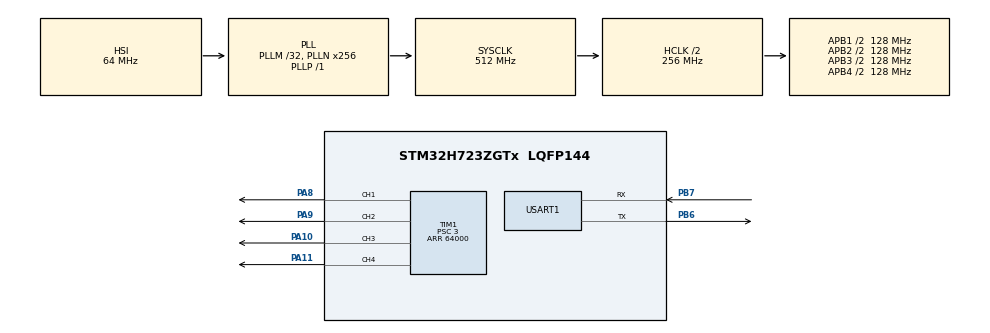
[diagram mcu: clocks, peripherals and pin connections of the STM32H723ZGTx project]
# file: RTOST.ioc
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CORTEX_M7.default_mode_Activation=1
FREERTOS.BinarySemaphores01=Freq_Sem,Dynamic,NULL,Depleted;Aimming_Sem,Dynamic,NULL,Depleted;Uart_Sem,Dynamic,NULL,Depleted
FREERTOS.Events01=Event1,Dynamic,NULL
FREERTOS.Mutexes01=UartMutexes,Dynamic,NULL,Available
FREERTOS.Queues01=UartQueue,128,uint8_t,0,Dynamic,NULL,NULL
FREERTOS.Tasks01=defaultTask,24,128,StartDefaultTask,Default,NULL,Dynamic,NULL,NULL
FREERTOS.Timers01=myTimer01,Callback01,osTimerPeriodic,Default,NULL,Dynamic,NULL
FREERTOS.configCHECK_FOR_STACK_OVERFLOW=2
Mcu.Family=STM32H7
Mcu.Name=STM32H723ZGTx
Mcu.Package=LQFP144
NVIC.PriorityGroup=NVIC_PRIORITYGROUP_4
NVIC.TIM8_UP_TIM13_IRQn=true\:15\:0\:false\:false\:true\:false\:false\:true\:true
NVIC.TimeBase=TIM8_UP_TIM13_IRQn
NVIC.TimeBaseIP=TIM8
NVIC.USART1_IRQn=true\:5\:0\:true\:false\:true\:true\:true\:true\:true
PA10.Signal=S_TIM1_CH3
PA11.Signal=S_TIM1_CH4
PA13(JTMS/SWDIO).Mode=Serial_Wire
PA13(JTMS/SWDIO).Signal=DEBUG_JTMS-SWDIO
PA14(JTCK/SWCLK).Mode=Serial_Wire
PA14(JTCK/SWCLK).Signal=DEBUG_JTCK-SWCLK
PA8.Signal=S_TIM1_CH1
PA9.Signal=S_TIM1_CH2
PB6.Mode=Asynchronous
PB6.Signal=USART1_TX
PB7.Mode=Asynchronous
PB7.Signal=USART1_RX
ProjectManager.HeapSize=0x200
ProjectManager.StackSize=0x400
ProjectManager.TargetToolchain=MDK-ARM V5.32
RCC.ADCFreq_Value=129000000
RCC.APB1Freq_Value=128000000
RCC.APB2Freq_Value=128000000
RCC.APB3Freq_Value=128000000
RCC.APB4Freq_Value=128000000
RCC.CortexFreq_Value=512000000
RCC.D1PPRE=RCC_APB3_DIV2
RCC.D2PPRE1=RCC_APB1_DIV2
RCC.D2PPRE2=RCC_APB2_DIV2
RCC.D3PPRE=RCC_APB4_DIV2
RCC.DIVN1=256
RCC.DIVP1=1
RCC.HCLKFreq_Value=256000000
RCC.HPRE=RCC_HCLK_DIV2
RCC.PLLFRACN=0
RCC.SYSCLKFreq_VALUE=512000000
RCC.SYSCLKSource=RCC_SYSCLKSOURCE_PLLCLK
RCC.USBFreq_Value=256000000
SH.S_TIM1_CH1.0=TIM1_CH1,PWM Generation1 CH1
SH.S_TIM1_CH2.0=TIM1_CH2,PWM Generation2 CH2
SH.S_TIM1_CH3.0=TIM1_CH3,PWM Generation3 CH3
SH.S_TIM1_CH4.0=TIM1_CH4,PWM Generation4 CH4
TIM1.AutoReloadPreload=TIM_AUTORELOAD_PRELOAD_ENABLE
TIM1.Channel-PWM\ Generation1\ CH1=TIM_CHANNEL_1
TIM1.Channel-PWM\ Generation2\ CH2=TIM_CHANNEL_2
TIM1.Channel-PWM\ Generation3\ CH3=TIM_CHANNEL_3
TIM1.Channel-PWM\ Generation4\ CH4=TIM_CHANNEL_4
TIM1.ClockDivision=TIM_CLOCKDIVISION_DIV1
TIM1.OCMode_PWM-PWM\ Generation1\ CH1=TIM_OCMODE_PWM1
TIM1.Period=64000
TIM1.Prescaler=3
TIM2.AutoReloadPreload=TIM_AUTORELOAD_PRELOAD_ENABLE
TIM2.Period=4294967295
TIM2.Prescaler=255
USART1.VirtualMode-Asynchronous=VM_ASYNC
VP_FREERTOS_VS_CMSIS_V2.Mode=CMSIS_V2
VP_MEMORYMAP_VS_MEMORYMAP.Mode=CurAppReg
VP_SYS_VS_tim8.Mode=TIM8
VP_TIM1_VS_ClockSourceINT.Mode=Internal
VP_TIM2_VS_ClockSourceINT.Mode=Internal
board=custom

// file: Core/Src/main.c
/* USER CODE BEGIN Header */
/**
  ******************************************************************************
  * @file           : main.c
  * @brief          : Main program body
  ******************************************************************************
  * @attention
  *
  * Copyright (c) 2025 STMicroelectronics.
  * All rights reserved.
  *
  * This software is licensed under terms that can be found in the LICENSE file
  * in the root directory of this software component.
  * If no LICENSE file comes with this software, it is provided AS-IS.
  *
  ******************************************************************************
  */
/* USER CODE END Header */
#include "main.h"
#include "cmsis_os.h"
#include "memorymap.h"
#include "tim.h"
#include "usart.h"
#include "gpio.h"

void SystemClock_Config(void);
static void MPU_Config(void);
void MX_FREERTOS_Init(void);

int main(void)
{

  /* MPU Configuration--------------------------------------------------------*/
  MPU_Config();

  /* MCU Configuration--------------------------------------------------------*/

  /* Reset of all peripherals, Initializes the Flash interface and the Systick. */
  HAL_Init();

  /* Configure the system clock */
  SystemClock_Config();

  /* Initialize all configured peripherals */
  MX_GPIO_Init();
  MX_TIM1_Init();
  MX_USART1_UART_Init();
  MX_TIM2_Init();

  /* Init scheduler */
  osKernelInitialize();

  /* Call init function for freertos objects (in cmsis_os2.c) */
  MX_FREERTOS_Init();

  /* Start scheduler */
  osKernelStart();

  /* We should never get here as control is now taken by the scheduler */

  /* Infinite loop */
  while (1)
  {

  }
}

void SystemClock_Config(void)
{
  RCC_OscInitTypeDef RCC_OscInitStruct = {0};
  RCC_ClkInitTypeDef RCC_ClkInitStruct = {0};

  /** Supply configuration update enable
  */
  HAL_PWREx_ConfigSupply(PWR_LDO_SUPPLY);

  /** Configure the main internal regulator output voltage
  */
  __HAL_PWR_VOLTAGESCALING_CONFIG(PWR_REGULATOR_VOLTAGE_SCALE0);

  while(!__HAL_PWR_GET_FLAG(PWR_FLAG_VOSRDY)) {}

  /** Initializes the RCC Oscillators according to the specified parameters
  * in the RCC_OscInitTypeDef structure.
  */
  RCC_OscInitStruct.OscillatorType = RCC_OSCILLATORTYPE_HSI;
  RCC_OscInitStruct.HSIState = RCC_HSI_DIV1;
  RCC_OscInitStruct.HSICalibrationValue = 64;
  RCC_OscInitStruct.PLL.PLLState = RCC_PLL_ON;
  RCC_OscInitStruct.PLL.PLLSource = RCC_PLLSOURCE_HSI;
  RCC_OscInitStruct.PLL.PLLM = 32;
  RCC_OscInitStruct.PLL.PLLN = 256;
  RCC_OscInitStruct.PLL.PLLP = 1;
  RCC_OscInitStruct.PLL.PLLQ = 2;
  RCC_OscInitStruct.PLL.PLLR = 2;
  RCC_OscInitStruct.PLL.PLLRGE = RCC_PLL1VCIRANGE_1;
  RCC_OscInitStruct.PLL.PLLVCOSEL = RCC_PLL1VCOWIDE;
  RCC_OscInitStruct.PLL.PLLFRACN = 0;
  if (HAL_RCC_OscConfig(&RCC_OscInitStruct) != HAL_OK)
  {
    Error_Handler();
  }

  /** Initializes the CPU, AHB and APB buses clocks
  */
  RCC_ClkInitStruct.ClockType = RCC_CLOCKTYPE_HCLK|RCC_CLOCKTYPE_SYSCLK
                              |RCC_CLOCKTYPE_PCLK1|RCC_CLOCKTYPE_PCLK2
                              |RCC_CLOCKTYPE_D3PCLK1|RCC_CLOCKTYPE_D1PCLK1;
  RCC_ClkInitStruct.SYSCLKSource = RCC_SYSCLKSOURCE_PLLCLK;
  RCC_ClkInitStruct.SYSCLKDivider = RCC_SYSCLK_DIV1;
  RCC_ClkInitStruct.AHBCLKDivider = RCC_HCLK_DIV2;
  RCC_ClkInitStruct.APB3CLKDivider = RCC_APB3_DIV2;
  RCC_ClkInitStruct.APB1CLKDivider = RCC_APB1_DIV2;
  RCC_ClkInitStruct.APB2CLKDivider = RCC_APB2_DIV2;
  RCC_ClkInitStruct.APB4CLKDivider = RCC_APB4_DIV2;

  if (HAL_RCC_ClockConfig(&RCC_ClkInitStruct, FLASH_LATENCY_3) != HAL_OK)
  {
    Error_Handler();
  }
}

 /* MPU Configuration */

void MPU_Config(void)
{
  MPU_Region_InitTypeDef MPU_InitStruct = {0};

  /* Disables the MPU */
  HAL_MPU_Disable();

  /** Initializes and configures the Region and the memory to be protected
  */
  MPU_InitStruct.Enable = MPU_REGION_ENABLE;
  MPU_InitStruct.Number = MPU_REGION_NUMBER0;
  MPU_InitStruct.BaseAddress = 0x0;
  MPU_InitStruct.Size = MPU_REGION_SIZE_4GB;
  MPU_InitStruct.SubRegionDisable = 0x87;
  MPU_InitStruct.TypeExtField = MPU_TEX_LEVEL0;
  MPU_InitStruct.AccessPermission = MPU_REGION_NO_ACCESS;
  MPU_InitStruct.DisableExec = MPU_INSTRUCTION_ACCESS_DISABLE;
  MPU_InitStruct.IsShareable = MPU_ACCESS_SHAREABLE;
  MPU_InitStruct.IsCacheable = MPU_ACCESS_NOT_CACHEABLE;
  MPU_InitStruct.IsBufferable = MPU_ACCESS_NOT_BUFFERABLE;

  HAL_MPU_ConfigRegion(&MPU_InitStruct);
  /* Enables the MPU */
  HAL_MPU_Enable(MPU_PRIVILEGED_DEFAULT);

}

void HAL_TIM_PeriodElapsedCallback(TIM_HandleTypeDef *htim)
{
  if (htim->Instance == TIM8)
  {
    HAL_IncTick();
  }
}

void Error_Handler(void)
{
  __disable_irq();
  while (1)
  {
  }
}

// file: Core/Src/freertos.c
/* USER CODE BEGIN Header */
/**
  ******************************************************************************
  * File Name          : freertos.c
  * Description        : Code for freertos applications
  ******************************************************************************
  * @attention
  *
  * Copyright (c) 2025 STMicroelectronics.
  * All rights reserved.
  *
  * This software is licensed under terms that can be found in the LICENSE file
  * in the root directory of this software component.
  * If no LICENSE file comes with this software, it is provided AS-IS.
  *
  ******************************************************************************
  */
/* USER CODE END Header */

#include "FreeRTOS.h"
#include "task.h"
#include "main.h"
#include "cmsis_os.h"

/* USER CODE BEGIN Includes */
#include "stdio.h"
#include "Freq.h"
#include "Aimming.h"
#include "Uart.h"
#include "Other.h"
#include "event_groups.h"
/* USER CODE END Includes */

/* USER CODE BEGIN PTD */
osThreadId_t FreqTaskHandle;
const osThreadAttr_t FreqTask_attributes = {
	.name = "FreqTask",
	.stack_size = 128 * 4,
	.priority = (osPriority_t) osPriorityNormal,
};

osThreadId_t AimmingTaskHandle;
const osThreadAttr_t AimmingTask_attributes = {
	.name = "AimmingTask",
	.stack_size = 256 * 4,
	.priority = (osPriority_t) osPriorityNormal,
};

osThreadId_t UartTaskHandle;
const osThreadAttr_t UartTask_attributes = {
	.name = "UartTask",
	.stack_size = 128 * 4,
	.priority = (osPriority_t) osPriorityNormal,
};

osThreadId_t OtherTaskHandle;
const osThreadAttr_t OtherTask_attributes = {
	.name = "OtherTask",
	.stack_size = 128 * 4,
	.priority = (osPriority_t) osPriorityNormal,
};
/* USER CODE END PTD */

/* Definitions for defaultTask */
osThreadId_t defaultTaskHandle;
const osThreadAttr_t defaultTask_attributes = {
  .name = "defaultTask",
  .stack_size = 128 * 4,
  .priority = (osPriority_t) osPriorityNormal,
};
/* Definitions for UartQueue */
osMessageQueueId_t UartQueueHandle;
const osMessageQueueAttr_t UartQueue_attributes = {
  .name = "UartQueue"
};
/* Definitions for myTimer01 */
osTimerId_t myTimer01Handle;
const osTimerAttr_t myTimer01_attributes = {
  .name = "myTimer01"
};
/* Definitions for UartMutexes */
osMutexId_t UartMutexesHandle;
const osMutexAttr_t UartMutexes_attributes = {
  .name = "UartMutexes"
};
/* Definitions for Freq_Sem */
osSemaphoreId_t Freq_SemHandle;
const osSemaphoreAttr_t Freq_Sem_attributes = {
  .name = "Freq_Sem"
};
/* Definitions for Aimming_Sem */
osSemaphoreId_t Aimming_SemHandle;
const osSemaphoreAttr_t Aimming_Sem_attributes = {
  .name = "Aimming_Sem"
};
/* Definitions for Uart_Sem */
osSemaphoreId_t Uart_SemHandle;
const osSemaphoreAttr_t Uart_Sem_attributes = {
  .name = "Uart_Sem"
};
/* Definitions for Event1 */
osEventFlagsId_t Event1Handle;
const osEventFlagsAttr_t Event1_attributes = {
  .name = "Event1"
};

void StartDefaultTask(void *argument);
void Callback01(void *argument);

void MX_FREERTOS_Init(void); /* (MISRA C 2004 rule 8.1) */

/* Hook prototypes */
void vApplicationStackOverflowHook(xTaskHandle xTask, signed char *pcTaskName);

/* USER CODE BEGIN 4 */
void vApplicationStackOverflowHook(xTaskHandle xTask, signed char *pcTaskName)
{
		printf("%s:overflow\r\n",pcTaskName);//���Ӻ�����ջ�������

   /* Run time stack overflow checking is performed if
   configCHECK_FOR_STACK_OVERFLOW is defined to 1 or 2. This hook function is
   called if a stack overflow is detected. */
}
/* USER CODE END 4 */

void MX_FREERTOS_Init(void) {
  /* Create the mutex(es) */
  /* creation of UartMutexes */
  UartMutexesHandle = osMutexNew(&UartMutexes_attributes);

  /* Create the semaphores(s) */
  /* creation of Freq_Sem */
  Freq_SemHandle = osSemaphoreNew(1, 0, &Freq_Sem_attributes);

  /* creation of Aimming_Sem */
  Aimming_SemHandle = osSemaphoreNew(1, 0, &Aimming_Sem_attributes);

  /* creation of Uart_Sem */
  Uart_SemHandle = osSemaphoreNew(1, 0, &Uart_Sem_attributes);

  /* Create the timer(s) */
  /* creation of myTimer01 */
  myTimer01Handle = osTimerNew(Callback01, osTimerPeriodic, NULL, &myTimer01_attributes);

  /* Create the queue(s) */
  /* creation of UartQueue */
  UartQueueHandle = osMessageQueueNew (128, sizeof(uint8_t), &UartQueue_attributes);

  /* Create the thread(s) */
  /* creation of defaultTask */
  defaultTaskHandle = osThreadNew(StartDefaultTask, NULL, &defaultTask_attributes);

  /* USER CODE BEGIN RTOS_THREADS */
  /* add threads, ... */

	FreqTaskHandle = osThreadNew(FreqTask, NULL, &FreqTask_attributes);
	AimmingTaskHandle = osThreadNew(AimmingTask, NULL, &AimmingTask_attributes);
	UartTaskHandle = osThreadNew(UartTask, NULL, &UartTask_attributes);
	OtherTaskHandle = osThreadNew(OtherTask, NULL, &OtherTask_attributes);
  /* USER CODE END RTOS_THREADS */

  /* creation of Event1 */
  Event1Handle = osEventFlagsNew(&Event1_attributes);

}

void StartDefaultTask(void *argument)
{
  /* USER CODE BEGIN StartDefaultTask */
	printf("hello\r\n");
  /* Infinite loop */
  for(;;)
  {
		osThreadTerminate(defaultTaskHandle);
    osDelay(1);
  }
  /* USER CODE END StartDefaultTask */
}

/* Callback01 function */
void Callback01(void *argument)
{
}
